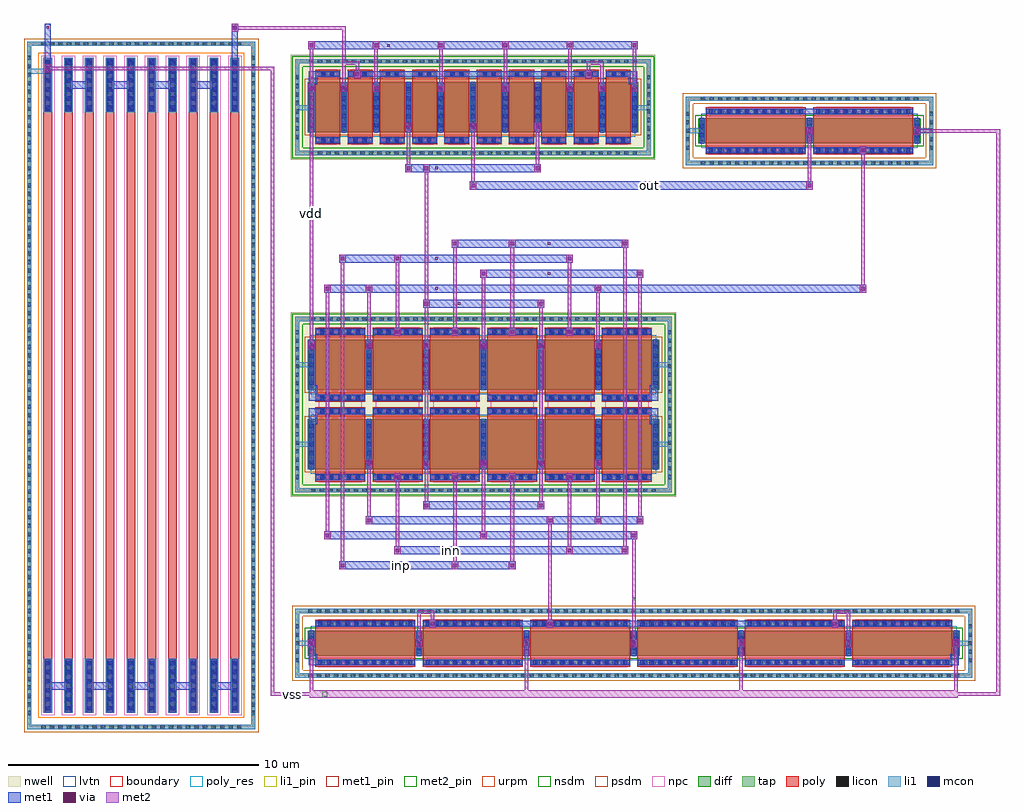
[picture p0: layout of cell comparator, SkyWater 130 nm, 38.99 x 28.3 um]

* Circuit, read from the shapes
.subckt comparator inn inp out vdd vss
XM1 mirror_3/in vss vss vss sky130_fd_pr__nfet_01v8_lvt w=1 l=4 m=2
XM2 vss mirror_3/in mirror_3/in vss sky130_fd_pr__nfet_01v8_lvt w=1 l=4 m=2
XM3 mirror_3/out mirror_3/in vss vss sky130_fd_pr__nfet_01v8_lvt w=1 l=4 m=2
XM4 out mirror_3/out vss vss sky130_fd_pr__nfet_01v8_lvt w=1 l=4 m=2
XM5 mirror_3/in vdd vdd vdd sky130_fd_pr__pfet_01v8_lvt w=2 l=2 m=2
XM6 mirror_3/out vdd vdd vdd sky130_fd_pr__pfet_01v8_lvt w=2 l=2 m=2
XM7 bias_4/vbias vdd vdd vdd sky130_fd_pr__pfet_01v8_lvt w=2 l=1 m=2
XM8 vdd bias_4/vbias bias_4/vbias vdd sky130_fd_pr__pfet_01v8_lvt w=2 l=1 m=2
XM9 bias_4/tail inn mirror_3/in vdd sky130_fd_pr__pfet_01v8_lvt w=2 l=2 m=4
XM10 bias_4/tail inp mirror_3/out vdd sky130_fd_pr__pfet_01v8_lvt w=2 l=2 m=4
XM11 bias_4/tail bias_4/vbias vdd vdd sky130_fd_pr__pfet_01v8_lvt w=2 l=1 m=4
XM12 out bias_4/vbias vdd vdd sky130_fd_pr__pfet_01v8_lvt w=2 l=1 m=2
XR13 vss rbias_1/sky130_fd_pr__res_xhigh_po_0p35_7TSF23_0/R1_8 vss sky130_fd_pr__res_xhigh_po w=0.35 l=21.88
XR14 rbias_1/sky130_fd_pr__res_xhigh_po_0p35_7TSF23_0/R2_7 rbias_1/sky130_fd_pr__res_xhigh_po_0p35_7TSF23_0/R1_8 vss sky130_fd_pr__res_xhigh_po w=0.35 l=21.88
XR15 rbias_1/sky130_fd_pr__res_xhigh_po_0p35_7TSF23_0/R2_7 rbias_1/sky130_fd_pr__res_xhigh_po_0p35_7TSF23_0/R1_6 vss sky130_fd_pr__res_xhigh_po w=0.35 l=21.88
XR16 rbias_1/sky130_fd_pr__res_xhigh_po_0p35_7TSF23_0/R2_5 rbias_1/sky130_fd_pr__res_xhigh_po_0p35_7TSF23_0/R1_6 vss sky130_fd_pr__res_xhigh_po w=0.35 l=21.88
XR17 rbias_1/sky130_fd_pr__res_xhigh_po_0p35_7TSF23_0/R2_5 rbias_1/sky130_fd_pr__res_xhigh_po_0p35_7TSF23_0/R1_4 vss sky130_fd_pr__res_xhigh_po w=0.35 l=21.88
XR18 rbias_1/sky130_fd_pr__res_xhigh_po_0p35_7TSF23_0/R2_3 rbias_1/sky130_fd_pr__res_xhigh_po_0p35_7TSF23_0/R1_4 vss sky130_fd_pr__res_xhigh_po w=0.35 l=21.88
XR19 rbias_1/sky130_fd_pr__res_xhigh_po_0p35_7TSF23_0/R2_3 rbias_1/sky130_fd_pr__res_xhigh_po_0p35_7TSF23_0/R1_2 vss sky130_fd_pr__res_xhigh_po w=0.35 l=21.88
XR20 rbias_1/sky130_fd_pr__res_xhigh_po_0p35_7TSF23_0/R2_1 rbias_1/sky130_fd_pr__res_xhigh_po_0p35_7TSF23_0/R1_2 vss sky130_fd_pr__res_xhigh_po w=0.35 l=21.88
XR21 rbias_1/sky130_fd_pr__res_xhigh_po_0p35_7TSF23_0/R2_1 rbias_1/sky130_fd_pr__res_xhigh_po_0p35_7TSF23_0/R1_0 vss sky130_fd_pr__res_xhigh_po w=0.35 l=21.88
XR22 bias_4/vbias rbias_1/sky130_fd_pr__res_xhigh_po_0p35_7TSF23_0/R1_0 vss sky130_fd_pr__res_xhigh_po w=0.35 l=21.88
.ends

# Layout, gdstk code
from math import pi, radians
import gdstk
lib = gdstk.Library(unit=1e-6, precision=1e-09)
def R(c, l, rs):  # rectangles x0, y0, x1, y1
    for r in rs: c.add(gdstk.rectangle(r[:2], r[2:], *l))
def A(c, l, x, y, w, h, nx, ny, dx, dy):  # array of equal rectangles
    R(c, l, [(x+i*dx, y+j*dy, x+i*dx+w, y+j*dy+h) for i in range(nx) for j in range(ny)])
nwell = (64, 20)
diff = (65, 20)
tap = (65, 44)
poly_res = (66, 13)
poly = (66, 20)
licon = (66, 44)
li1_pin = (67, 16)
li1 = (67, 20)
mcon = (67, 44)
met1_pin = (68, 16)
met1 = (68, 20)
via = (68, 44)
met2_pin = (69, 16)
met2 = (69, 20)
urpm = (79, 20)
nsdm = (93, 44)
psdm = (94, 20)
npc = (95, 20)
lvtn = (125, 44)
boundary = (235, 4)

sky130_fd_pr__nfet_01v8_ = lib.new_cell('sky130_fd_pr__nfet_01v8_lvt_V2W96S')
R(sky130_fd_pr__nfet_01v8_, diff, [(-4.435,-0.5,4.435,0.5)])
R(sky130_fd_pr__nfet_01v8_, tap, [(-4.945,-1.37,4.945,-1.2), (-4.945,-1.2,-4.775,1.2), (4.775,-1.2,4.945,1.2), (-4.945,1.2,4.945,1.37)])
R(sky130_fd_pr__nfet_01v8_, poly, [(-4.145,-0.94,-0.145,0.94), (0.145,-0.94,4.145,0.94)])
A(sky130_fd_pr__nfet_01v8_, licon, -4.335, -1.37, 0.17, 0.17, 26, 2, 0.34, 2.57)
A(sky130_fd_pr__nfet_01v8_, licon, -3.93, -0.86, 0.17, 0.17, 11, 2, 0.34, 1.55)
A(sky130_fd_pr__nfet_01v8_, licon, 0.36, -0.86, 0.17, 0.17, 11, 2, 0.34, 1.55)
A(sky130_fd_pr__nfet_01v8_, licon, -4.945, -0.765, 0.17, 0.17, 1, 5, 0, 0.34)
A(sky130_fd_pr__nfet_01v8_, licon, 4.775, -0.765, 0.17, 0.17, 1, 5, 0, 0.34)
A(sky130_fd_pr__nfet_01v8_, licon, -4.375, -0.425, 0.17, 0.17, 3, 3, 4.29, 0.34)
A(sky130_fd_pr__nfet_01v8_, li1, -4.375, -0.52, 0.17, 1.04, 3, 1, 4.29, 0)
R(sky130_fd_pr__nfet_01v8_, li1, [(-4.945,-1.37,4.945,-1.2), (-4.945,-1.2,-4.775,1.2), (4.775,-1.2,4.945,1.2), (-4.145,-0.86,-0.145,-0.69), (0.145,-0.86,4.145,-0.69), (-4.145,0.69,-0.145,0.86), (0.145,0.69,4.145,0.86), (-4.945,1.2,4.945,1.37)])
A(sky130_fd_pr__nfet_01v8_, mcon, -4.03, -0.86, 0.17, 0.17, 11, 2, 0.36, 1.55)
A(sky130_fd_pr__nfet_01v8_, mcon, 0.26, -0.86, 0.17, 0.17, 11, 2, 0.36, 1.55)
A(sky130_fd_pr__nfet_01v8_, mcon, -4.375, -0.265, 0.17, 0.17, 3, 2, 4.29, 0.36)
A(sky130_fd_pr__nfet_01v8_, met1, -4.405, -0.5, 0.23, 1, 3, 1, 4.29, 0)
R(sky130_fd_pr__nfet_01v8_, met1, [(-4.125,-0.89,-0.165,-0.66), (0.165,-0.89,4.125,-0.66), (-4.125,0.66,-0.165,0.89), (0.165,0.66,4.125,0.89)])
R(sky130_fd_pr__nfet_01v8_, nsdm, [(-4.56,-0.625,4.56,0.625)])
R(sky130_fd_pr__nfet_01v8_, psdm, [(-5.07,-1.495,5.07,-1.075), (-5.07,-1.075,-4.65,1.075), (4.65,-1.075,5.07,1.075), (-5.07,1.075,5.07,1.495)])
R(sky130_fd_pr__nfet_01v8_, npc, [(-4.03,-0.96,-0.26,-0.59), (0.26,-0.96,4.03,-0.59), (-4.03,0.59,-0.26,0.96), (0.26,0.59,4.03,0.96)])
R(sky130_fd_pr__nfet_01v8_, lvtn, [(-4.325,-0.68,4.325,0.68)])
R(sky130_fd_pr__nfet_01v8_, boundary, [(-4.86,-1.285,4.86,1.285)])
sky130_fd_pr__nfet_01v8_.add(gdstk.Label('B', (0,-1.285), layer=67, texttype=5))
sky130_fd_pr__nfet_01v8_.add(gdstk.Label('D0', (-4.29,0), layer=67, texttype=5))
sky130_fd_pr__nfet_01v8_.add(gdstk.Label('G0', (-2.145,0.775), layer=67, texttype=5))
sky130_fd_pr__nfet_01v8_.add(gdstk.Label('S1', (0,0), layer=67, texttype=5))
sky130_fd_pr__nfet_01v8_.add(gdstk.Label('G1', (2.145,0.775), layer=67, texttype=5))

stage2 = lib.new_cell('stage2')
R(stage2, li1_pin, [(0.2,1.25,0.3,1.35)])
R(stage2, li1, [(-0.085,1.185,0.6,1.385), (9.12,1.185,9.805,1.385)])
R(stage2, met1_pin, [(2,2,2.1,2.1)])
R(stage2, met1, [(4.73,1.125,4.99,1.445), (0.735,1.945,8.985,2.175)])
R(stage2, via, [(4.785,1.21,4.935,1.36)])
R(stage2, met2_pin, [(4.82,-0.85,4.9,-0.75)])
R(stage2, met2, [(4.79,-0.9,4.93,1.125), (4.73,1.125,4.99,1.445)])
stage2.add(gdstk.Reference(sky130_fd_pr__nfet_01v8_, (4.86,1.285)))
stage2.add(gdstk.Label('vss', (0.25,1.3), layer=67, texttype=5))
stage2.add(gdstk.Label('out1', (2.05,2.05), layer=68, texttype=5))
stage2.add(gdstk.Label('out', (4.86,-0.8), layer=69, texttype=5))

sky130_fd_pr__res_xhigh_ = lib.new_cell('sky130_fd_pr__res_xhigh_po_0p35_7TSF23')
R(sky130_fd_pr__res_xhigh_, tap, [(-4.56,-13.73,4.56,-13.56), (-4.56,-13.56,-4.39,13.56), (4.39,-13.56,4.56,13.56), (-4.56,13.56,4.56,13.73)])
A(sky130_fd_pr__res_xhigh_, poly_res, -3.91, -11, 0.35, 22, 10, 1, 0.83, 0)
A(sky130_fd_pr__res_xhigh_, poly, -3.91, -13.08, 0.35, 26.16, 10, 1, 0.83, 0)
A(sky130_fd_pr__res_xhigh_, licon, -3.995, -13.73, 0.17, 0.17, 24, 2, 0.34, 27.29)
A(sky130_fd_pr__res_xhigh_, licon, -4.56, -13.175, 0.17, 0.17, 1, 78, 0, 0.34)
A(sky130_fd_pr__res_xhigh_, licon, 4.39, -13.175, 0.17, 0.17, 1, 78, 0, 0.34)
A(sky130_fd_pr__res_xhigh_, licon, -3.83, -13, 0.19, 2, 10, 2, 0.83, 24)
A(sky130_fd_pr__res_xhigh_, li1, -3.91, -13.08, 0.35, 2.16, 10, 2, 0.83, 24)
R(sky130_fd_pr__res_xhigh_, li1, [(-4.56,-13.73,4.56,-13.56), (-4.56,-13.56,-4.39,13.56), (4.39,-13.56,4.56,13.56), (-4.56,13.56,4.56,13.73)])
A(sky130_fd_pr__res_xhigh_, mcon, -3.82, -12.985, 0.17, 0.17, 10, 6, 0.83, 0.36)
A(sky130_fd_pr__res_xhigh_, mcon, -3.82, 11.01, 0.17, 0.17, 10, 6, 0.83, 0.36)
A(sky130_fd_pr__res_xhigh_, met1, -3.86, -13.05, 0.25, 2.105, 10, 2, 0.83, 23.995)
R(sky130_fd_pr__res_xhigh_, urpm, [(-4.11,-13.28,4.11,13.28)])
R(sky130_fd_pr__res_xhigh_, psdm, [(-4.685,-13.855,4.685,13.855)])
A(sky130_fd_pr__res_xhigh_, npc, -4.005, -13.175, 0.54, 26.35, 10, 1, 0.83, 0)
R(sky130_fd_pr__res_xhigh_, boundary, [(-4.475,-13.645,4.475,13.645)])
sky130_fd_pr__res_xhigh_.add(gdstk.Label('B', (0,-13.645), layer=67, texttype=5))
sky130_fd_pr__res_xhigh_.add(gdstk.Label('R1_0', (-3.735,12.905), layer=67, texttype=5))
sky130_fd_pr__res_xhigh_.add(gdstk.Label('R2_0', (-3.735,-12.905), layer=67, texttype=5))
sky130_fd_pr__res_xhigh_.add(gdstk.Label('R1_1', (-2.905,12.905), layer=67, texttype=5))
sky130_fd_pr__res_xhigh_.add(gdstk.Label('R2_1', (-2.905,-12.905), layer=67, texttype=5))
sky130_fd_pr__res_xhigh_.add(gdstk.Label('R1_2', (-2.075,12.905), layer=67, texttype=5))
sky130_fd_pr__res_xhigh_.add(gdstk.Label('R2_2', (-2.075,-12.905), layer=67, texttype=5))
sky130_fd_pr__res_xhigh_.add(gdstk.Label('R1_3', (-1.245,12.905), layer=67, texttype=5))
sky130_fd_pr__res_xhigh_.add(gdstk.Label('R2_3', (-1.245,-12.905), layer=67, texttype=5))
sky130_fd_pr__res_xhigh_.add(gdstk.Label('R1_4', (-0.415,12.905), layer=67, texttype=5))
sky130_fd_pr__res_xhigh_.add(gdstk.Label('R2_4', (-0.415,-12.905), layer=67, texttype=5))
sky130_fd_pr__res_xhigh_.add(gdstk.Label('R1_5', (0.415,12.905), layer=67, texttype=5))
sky130_fd_pr__res_xhigh_.add(gdstk.Label('R2_5', (0.415,-12.905), layer=67, texttype=5))
sky130_fd_pr__res_xhigh_.add(gdstk.Label('R1_6', (1.245,12.905), layer=67, texttype=5))
sky130_fd_pr__res_xhigh_.add(gdstk.Label('R2_6', (1.245,-12.905), layer=67, texttype=5))
sky130_fd_pr__res_xhigh_.add(gdstk.Label('R1_7', (2.075,12.905), layer=67, texttype=5))
sky130_fd_pr__res_xhigh_.add(gdstk.Label('R2_7', (2.075,-12.905), layer=67, texttype=5))
sky130_fd_pr__res_xhigh_.add(gdstk.Label('R1_8', (2.905,12.905), layer=67, texttype=5))
sky130_fd_pr__res_xhigh_.add(gdstk.Label('R2_8', (2.905,-12.905), layer=67, texttype=5))
sky130_fd_pr__res_xhigh_.add(gdstk.Label('R1_9', (3.735,12.905), layer=67, texttype=5))
sky130_fd_pr__res_xhigh_.add(gdstk.Label('R2_9', (3.735,-12.905), layer=67, texttype=5))

rbias = lib.new_cell('rbias')
R(rbias, li1, [(8.26,1,9.035,1.2)])
R(rbias, met1_pin, [(0.7,-0.7,0.78,-0.6), (8.17,-0.7,8.25,-0.6)])
A(rbias, met1, 1.445, 1.5, 1.08, 0.3, 4, 1, 1.66, 0)
A(rbias, met1, 0.615, 25.5, 1.08, 0.3, 5, 1, 1.66, 0)
R(rbias, met1, [(0.615,-0.8,0.865,1.3), (8.085,-0.8,8.335,1.3)])
rbias.add(gdstk.Reference(sky130_fd_pr__res_xhigh_, (4.475,13.645)))
rbias.add(gdstk.Label('vbias', (0.74,-0.65), layer=68, texttype=5))
rbias.add(gdstk.Label('vss', (8.21,-0.65), layer=68, texttype=5))

sky130_fd_pr__pfet_01v8_ = lib.new_cell('sky130_fd_pr__pfet_01v8_lvt_XXW46M')
R(sky130_fd_pr__pfet_01v8_, nwell, [(-7.705,-3.685,7.705,3.685)])
R(sky130_fd_pr__pfet_01v8_, diff, [(-7.015,-2.59,7.015,-0.59), (-7.015,0.59,7.015,2.59)])
R(sky130_fd_pr__pfet_01v8_, tap, [(-7.525,-3.505,7.525,-3.335), (-7.525,-3.335,-7.355,3.335), (7.355,-3.335,7.525,3.335), (-7.525,3.335,7.525,3.505)])
A(sky130_fd_pr__pfet_01v8_, poly, -6.725, -3.075, 2, 2.97, 6, 2, 2.29, 3.18)
A(sky130_fd_pr__pfet_01v8_, licon, -6.885, -3.505, 0.17, 0.17, 41, 2, 0.34, 6.84)
A(sky130_fd_pr__pfet_01v8_, licon, -6.49, -2.995, 0.17, 0.17, 5, 2, 0.34, 2.64)
A(sky130_fd_pr__pfet_01v8_, licon, -4.2, -2.995, 0.17, 0.17, 5, 2, 0.34, 2.64)
A(sky130_fd_pr__pfet_01v8_, licon, -1.91, -2.995, 0.17, 0.17, 5, 2, 0.34, 2.64)
A(sky130_fd_pr__pfet_01v8_, licon, 0.38, -2.995, 0.17, 0.17, 5, 2, 0.34, 2.64)
A(sky130_fd_pr__pfet_01v8_, licon, 2.67, -2.995, 0.17, 0.17, 5, 2, 0.34, 2.64)
A(sky130_fd_pr__pfet_01v8_, licon, 4.96, -2.995, 0.17, 0.17, 5, 2, 0.34, 2.64)
A(sky130_fd_pr__pfet_01v8_, licon, -7.525, -2.975, 0.17, 0.17, 1, 18, 0, 0.34)
A(sky130_fd_pr__pfet_01v8_, licon, 7.355, -2.975, 0.17, 0.17, 1, 18, 0, 0.34)
A(sky130_fd_pr__pfet_01v8_, licon, -6.955, -2.525, 0.17, 0.17, 7, 6, 2.29, 0.34)
A(sky130_fd_pr__pfet_01v8_, licon, -6.49, 0.185, 0.17, 0.17, 5, 2, 0.34, 2.64)
A(sky130_fd_pr__pfet_01v8_, licon, -4.2, 0.185, 0.17, 0.17, 5, 2, 0.34, 2.64)
A(sky130_fd_pr__pfet_01v8_, licon, -1.91, 0.185, 0.17, 0.17, 5, 2, 0.34, 2.64)
A(sky130_fd_pr__pfet_01v8_, licon, 0.38, 0.185, 0.17, 0.17, 5, 2, 0.34, 2.64)
A(sky130_fd_pr__pfet_01v8_, licon, 2.67, 0.185, 0.17, 0.17, 5, 2, 0.34, 2.64)
A(sky130_fd_pr__pfet_01v8_, licon, 4.96, 0.185, 0.17, 0.17, 5, 2, 0.34, 2.64)
A(sky130_fd_pr__pfet_01v8_, licon, -6.955, 0.655, 0.17, 0.17, 7, 6, 2.29, 0.34)
A(sky130_fd_pr__pfet_01v8_, li1, -6.725, -2.995, 2, 0.17, 6, 2, 2.29, 2.64)
A(sky130_fd_pr__pfet_01v8_, li1, -6.955, -2.61, 0.17, 2.04, 7, 2, 2.29, 3.18)
A(sky130_fd_pr__pfet_01v8_, li1, -6.725, 0.185, 2, 0.17, 6, 2, 2.29, 2.64)
R(sky130_fd_pr__pfet_01v8_, li1, [(-7.525,-3.505,7.525,-3.335), (-7.525,-3.335,-7.355,3.335), (7.355,-3.335,7.525,3.335), (-7.525,3.335,7.525,3.505)])
A(sky130_fd_pr__pfet_01v8_, mcon, -6.53, -2.995, 0.17, 0.17, 5, 2, 0.36, 2.64)
A(sky130_fd_pr__pfet_01v8_, mcon, -4.24, -2.995, 0.17, 0.17, 5, 2, 0.36, 2.64)
A(sky130_fd_pr__pfet_01v8_, mcon, -1.95, -2.995, 0.17, 0.17, 5, 2, 0.36, 2.64)
A(sky130_fd_pr__pfet_01v8_, mcon, 0.34, -2.995, 0.17, 0.17, 5, 2, 0.36, 2.64)
A(sky130_fd_pr__pfet_01v8_, mcon, 2.63, -2.995, 0.17, 0.17, 5, 2, 0.36, 2.64)
A(sky130_fd_pr__pfet_01v8_, mcon, 4.92, -2.995, 0.17, 0.17, 5, 2, 0.36, 2.64)
A(sky130_fd_pr__pfet_01v8_, mcon, -6.955, -2.395, 0.17, 0.17, 7, 5, 2.29, 0.36)
A(sky130_fd_pr__pfet_01v8_, mcon, -6.53, 0.185, 0.17, 0.17, 5, 2, 0.36, 2.64)
A(sky130_fd_pr__pfet_01v8_, mcon, -4.24, 0.185, 0.17, 0.17, 5, 2, 0.36, 2.64)
A(sky130_fd_pr__pfet_01v8_, mcon, -1.95, 0.185, 0.17, 0.17, 5, 2, 0.36, 2.64)
A(sky130_fd_pr__pfet_01v8_, mcon, 0.34, 0.185, 0.17, 0.17, 5, 2, 0.36, 2.64)
A(sky130_fd_pr__pfet_01v8_, mcon, 2.63, 0.185, 0.17, 0.17, 5, 2, 0.36, 2.64)
A(sky130_fd_pr__pfet_01v8_, mcon, 4.92, 0.185, 0.17, 0.17, 5, 2, 0.36, 2.64)
A(sky130_fd_pr__pfet_01v8_, mcon, -6.955, 0.785, 0.17, 0.17, 7, 5, 2.29, 0.36)
A(sky130_fd_pr__pfet_01v8_, met1, -6.705, -3.025, 1.96, 0.23, 6, 2, 2.29, 2.64)
A(sky130_fd_pr__pfet_01v8_, met1, -6.985, -2.59, 0.23, 2, 7, 2, 2.29, 3.18)
A(sky130_fd_pr__pfet_01v8_, met1, -6.705, 0.155, 1.96, 0.23, 6, 2, 2.29, 2.64)
R(sky130_fd_pr__pfet_01v8_, nsdm, [(-7.65,-3.63,7.65,-3.21), (-7.65,-3.21,-7.23,3.21), (7.23,-3.21,7.65,3.21), (-7.65,3.21,7.65,3.63)])
R(sky130_fd_pr__pfet_01v8_, psdm, [(-7.14,-2.715,7.14,-0.465), (-7.14,0.465,7.14,2.715)])
A(sky130_fd_pr__pfet_01v8_, npc, -6.59, -3.095, 1.73, 0.37, 6, 2, 2.29, 5.82)
A(sky130_fd_pr__pfet_01v8_, npc, -6.59, -0.455, 1.73, 0.91, 6, 1, 2.29, 0)
R(sky130_fd_pr__pfet_01v8_, lvtn, [(-6.905,-2.77,6.905,-0.41), (-6.905,0.41,6.905,2.77)])
R(sky130_fd_pr__pfet_01v8_, boundary, [(-7.44,-3.42,7.44,3.42)])
sky130_fd_pr__pfet_01v8_.add(gdstk.Label('B', (0,-3.42), layer=67, texttype=5))
sky130_fd_pr__pfet_01v8_.add(gdstk.Label('D0_0', (-6.87,-1.59), layer=67, texttype=5))
sky130_fd_pr__pfet_01v8_.add(gdstk.Label('G0_0', (-5.725,-0.27), layer=67, texttype=5))
sky130_fd_pr__pfet_01v8_.add(gdstk.Label('D0_1', (-6.87,1.59), layer=67, texttype=5))
sky130_fd_pr__pfet_01v8_.add(gdstk.Label('G0_1', (-5.725,2.91), layer=67, texttype=5))
sky130_fd_pr__pfet_01v8_.add(gdstk.Label('S1_0', (-4.58,-1.59), layer=67, texttype=5))
sky130_fd_pr__pfet_01v8_.add(gdstk.Label('G1_0', (-3.435,-0.27), layer=67, texttype=5))
sky130_fd_pr__pfet_01v8_.add(gdstk.Label('S1_1', (-4.58,1.59), layer=67, texttype=5))
sky130_fd_pr__pfet_01v8_.add(gdstk.Label('G1_1', (-3.435,2.91), layer=67, texttype=5))
sky130_fd_pr__pfet_01v8_.add(gdstk.Label('D2_0', (-2.29,-1.59), layer=67, texttype=5))
sky130_fd_pr__pfet_01v8_.add(gdstk.Label('G2_0', (-1.145,-0.27), layer=67, texttype=5))
sky130_fd_pr__pfet_01v8_.add(gdstk.Label('D2_1', (-2.29,1.59), layer=67, texttype=5))
sky130_fd_pr__pfet_01v8_.add(gdstk.Label('G2_1', (-1.145,2.91), layer=67, texttype=5))
sky130_fd_pr__pfet_01v8_.add(gdstk.Label('S3_0', (0,-1.59), layer=67, texttype=5))
sky130_fd_pr__pfet_01v8_.add(gdstk.Label('G3_0', (1.145,-0.27), layer=67, texttype=5))
sky130_fd_pr__pfet_01v8_.add(gdstk.Label('S3_1', (0,1.59), layer=67, texttype=5))
sky130_fd_pr__pfet_01v8_.add(gdstk.Label('G3_1', (1.145,2.91), layer=67, texttype=5))
sky130_fd_pr__pfet_01v8_.add(gdstk.Label('D4_0', (2.29,-1.59), layer=67, texttype=5))
sky130_fd_pr__pfet_01v8_.add(gdstk.Label('G4_0', (3.435,-0.27), layer=67, texttype=5))
sky130_fd_pr__pfet_01v8_.add(gdstk.Label('D4_1', (2.29,1.59), layer=67, texttype=5))
sky130_fd_pr__pfet_01v8_.add(gdstk.Label('G4_1', (3.435,2.91), layer=67, texttype=5))
sky130_fd_pr__pfet_01v8_.add(gdstk.Label('S5_0', (4.58,-1.59), layer=67, texttype=5))
sky130_fd_pr__pfet_01v8_.add(gdstk.Label('G5_0', (5.725,-0.27), layer=67, texttype=5))
sky130_fd_pr__pfet_01v8_.add(gdstk.Label('S5_1', (4.58,1.59), layer=67, texttype=5))
sky130_fd_pr__pfet_01v8_.add(gdstk.Label('G5_1', (5.725,2.91), layer=67, texttype=5))

pair = lib.new_cell('pair')
R(pair, li1_pin, [(0.2,4.95,0.3,5.05)])
R(pair, li1, [(-0.085,1.74,0.6,1.94), (14.28,1.74,14.965,1.94), (-0.085,4.9,0.6,5.1), (14.28,4.9,14.965,5.1)])
R(pair, met1_pin, [(6.4,7.4,6.5,7.5), (5.5,8,5.6,8.1), (10,8.6,10.1,8.7), (5.5,9.2,5.6,9.3), (10,9.8,10.1,9.9)])
A(pair, met1, 3.875, 0.35, 0.26, 0.32, 4, 2, 2.29, 5.82)
A(pair, met1, 2.73, 0.89, 0.26, 0.32, 5, 2, 2.29, 4.74)
R(pair, met1, [(1.67,-3.17,8.715,-2.85), (3.875,-2.57,13.21,-2.25), (1.07,-1.97,7.57,-1.65), (2.73,-1.37,13.81,-1.05), (5.02,-0.77,9.86,-0.45), (0.455,2.64,0.8,3.265), (14.08,2.64,14.425,3.265), (0.455,3.575,0.8,4.2), (14.08,3.575,14.425,4.2), (5.02,7.29,9.86,7.61), (1.07,7.89,12.15,8.21), (7.31,8.49,13.81,8.81), (1.67,9.09,11.005,9.41), (6.165,9.69,13.21,10.01)])
A(pair, via, 3.93, 0.435, 0.15, 0.15, 4, 2, 2.29, 5.82)
A(pair, via, 2.785, 0.975, 0.15, 0.15, 5, 2, 2.29, 4.74)
R(pair, via, [(1.725,-3.085,1.875,-2.935), (6.22,-3.085,6.37,-2.935), (8.51,-3.085,8.66,-2.935), (3.93,-2.485,4.08,-2.335), (10.8,-2.485,10.95,-2.335), (13.005,-2.485,13.155,-2.335), (1.125,-1.885,1.275,-1.735), (7.365,-1.885,7.515,-1.735), (2.785,-1.285,2.935,-1.135), (11.945,-1.285,12.095,-1.135), (13.605,-1.285,13.755,-1.135), (5.075,-0.685,5.225,-0.535), (9.655,-0.685,9.805,-0.535), (5.075,7.375,5.225,7.525), (9.655,7.375,9.805,7.525), (1.125,7.975,1.275,8.125), (2.785,7.975,2.935,8.125), (11.945,7.975,12.095,8.125), (7.365,8.575,7.515,8.725), (13.605,8.575,13.755,8.725), (1.725,9.175,1.875,9.325), (3.93,9.175,4.08,9.325), (10.8,9.175,10.95,9.325), (6.22,9.775,6.37,9.925), (8.51,9.775,8.66,9.925), (13.005,9.775,13.155,9.925)])
A(pair, met2, 3.875, 0.35, 0.26, 0.32, 4, 2, 2.29, 5.82)
A(pair, met2, 2.73, 0.89, 0.26, 0.32, 5, 2, 2.29, 4.74)
R(pair, met2, [(1.67,-3.17,1.93,-2.85), (6.165,-3.17,6.425,-2.85), (8.455,-3.17,8.715,-2.85), (1.73,-2.85,1.87,9.09), (6.225,-2.85,6.365,0.35), (8.515,-2.85,8.655,0.35), (3.875,-2.57,4.135,-2.25), (10.745,-2.57,11.005,-2.25), (12.95,-2.57,13.21,-2.25), (3.935,-2.25,4.075,0.35), (10.805,-2.25,10.945,0.35), (13.01,-2.25,13.15,9.69), (1.07,-1.97,1.33,-1.65), (7.31,-1.97,7.57,-1.65), (1.13,-1.65,1.27,7.89), (7.37,-1.65,7.51,0.89), (2.73,-1.37,2.99,-1.05), (11.89,-1.37,12.15,-1.05), (13.55,-1.37,13.81,-1.05), (2.79,-1.05,2.93,0.89), (11.95,-1.05,12.09,0.89), (13.61,-1.05,13.75,8.49), (5.02,-0.77,5.28,-0.45), (9.6,-0.77,9.86,-0.45), (5.08,-0.45,5.22,0.89), (9.66,-0.45,9.8,0.89), (5.08,1.21,5.22,5.63), (9.66,1.21,9.8,5.63), (2.79,5.95,2.93,7.89), (5.08,5.95,5.22,7.29), (7.37,5.95,7.51,8.49), (9.66,5.95,9.8,7.29), (11.95,5.95,12.09,7.89), (3.935,6.49,4.075,9.09), (6.225,6.49,6.365,9.69), (8.515,6.49,8.655,9.69), (10.805,6.49,10.945,9.09), (5.02,7.29,5.28,7.61), (9.6,7.29,9.86,7.61), (1.07,7.89,1.33,8.21), (2.73,7.89,2.99,8.21), (11.89,7.89,12.15,8.21), (7.31,8.49,7.57,8.81), (13.55,8.49,13.81,8.81), (1.67,9.09,1.93,9.41), (3.875,9.09,4.135,9.41), (10.745,9.09,11.005,9.41), (6.165,9.69,6.425,10.01), (8.455,9.69,8.715,10.01), (12.95,9.69,13.21,10.01)])
pair.add(gdstk.Reference(sky130_fd_pr__pfet_01v8_, (7.44,3.42)))
pair.add(gdstk.Label('vdd', (0.25,5), layer=67, texttype=5))
pair.add(gdstk.Label('tail', (6.45,7.45), layer=68, texttype=5))
pair.add(gdstk.Label('out1', (5.55,8.05), layer=68, texttype=5))
pair.add(gdstk.Label('xm2_drain', (10.05,8.65), layer=68, texttype=5))
pair.add(gdstk.Label('inp', (5.55,9.25), layer=68, texttype=5))
pair.add(gdstk.Label('inn', (10.05,9.85), layer=68, texttype=5))

c_sky130_fd_pr__nfet_01v8_ = lib.new_cell('sky130_fd_pr__nfet_01v8_lvt_J7S5NG')
R(c_sky130_fd_pr__nfet_01v8_, diff, [(-13.015,-0.5,13.015,0.5)])
R(c_sky130_fd_pr__nfet_01v8_, tap, [(-13.525,-1.37,13.525,-1.2), (-13.525,-1.2,-13.355,1.2), (13.355,-1.2,13.525,1.2), (-13.525,1.2,13.525,1.37)])
A(c_sky130_fd_pr__nfet_01v8_, poly, -12.725, -0.94, 4, 1.88, 6, 1, 4.29, 0)
A(c_sky130_fd_pr__nfet_01v8_, licon, -13.005, -1.37, 0.17, 0.17, 77, 2, 0.34, 2.57)
A(c_sky130_fd_pr__nfet_01v8_, licon, -12.51, -0.86, 0.17, 0.17, 11, 2, 0.34, 1.55)
A(c_sky130_fd_pr__nfet_01v8_, licon, -8.22, -0.86, 0.17, 0.17, 11, 2, 0.34, 1.55)
A(c_sky130_fd_pr__nfet_01v8_, licon, -3.93, -0.86, 0.17, 0.17, 11, 2, 0.34, 1.55)
A(c_sky130_fd_pr__nfet_01v8_, licon, 0.36, -0.86, 0.17, 0.17, 11, 2, 0.34, 1.55)
A(c_sky130_fd_pr__nfet_01v8_, licon, 4.65, -0.86, 0.17, 0.17, 11, 2, 0.34, 1.55)
A(c_sky130_fd_pr__nfet_01v8_, licon, 8.94, -0.86, 0.17, 0.17, 11, 2, 0.34, 1.55)
A(c_sky130_fd_pr__nfet_01v8_, licon, -13.525, -0.765, 0.17, 0.17, 1, 5, 0, 0.34)
A(c_sky130_fd_pr__nfet_01v8_, licon, 13.355, -0.765, 0.17, 0.17, 1, 5, 0, 0.34)
A(c_sky130_fd_pr__nfet_01v8_, licon, -12.955, -0.425, 0.17, 0.17, 7, 3, 4.29, 0.34)
A(c_sky130_fd_pr__nfet_01v8_, li1, -12.725, -0.86, 4, 0.17, 6, 2, 4.29, 1.55)
A(c_sky130_fd_pr__nfet_01v8_, li1, -12.955, -0.52, 0.17, 1.04, 7, 1, 4.29, 0)
R(c_sky130_fd_pr__nfet_01v8_, li1, [(-13.525,-1.37,13.525,-1.2), (-13.525,-1.2,-13.355,1.2), (13.355,-1.2,13.525,1.2), (-13.525,1.2,13.525,1.37)])
A(c_sky130_fd_pr__nfet_01v8_, mcon, -12.61, -0.86, 0.17, 0.17, 11, 2, 0.36, 1.55)
A(c_sky130_fd_pr__nfet_01v8_, mcon, -8.32, -0.86, 0.17, 0.17, 11, 2, 0.36, 1.55)
A(c_sky130_fd_pr__nfet_01v8_, mcon, -4.03, -0.86, 0.17, 0.17, 11, 2, 0.36, 1.55)
A(c_sky130_fd_pr__nfet_01v8_, mcon, 0.26, -0.86, 0.17, 0.17, 11, 2, 0.36, 1.55)
A(c_sky130_fd_pr__nfet_01v8_, mcon, 4.55, -0.86, 0.17, 0.17, 11, 2, 0.36, 1.55)
A(c_sky130_fd_pr__nfet_01v8_, mcon, 8.84, -0.86, 0.17, 0.17, 11, 2, 0.36, 1.55)
A(c_sky130_fd_pr__nfet_01v8_, mcon, -12.955, -0.265, 0.17, 0.17, 7, 2, 4.29, 0.36)
A(c_sky130_fd_pr__nfet_01v8_, met1, -12.705, -0.89, 3.96, 0.23, 6, 2, 4.29, 1.55)
A(c_sky130_fd_pr__nfet_01v8_, met1, -12.985, -0.5, 0.23, 1, 7, 1, 4.29, 0)
R(c_sky130_fd_pr__nfet_01v8_, nsdm, [(-13.14,-0.625,13.14,0.625)])
R(c_sky130_fd_pr__nfet_01v8_, psdm, [(-13.65,-1.495,13.65,-1.075), (-13.65,-1.075,-13.23,1.075), (13.23,-1.075,13.65,1.075), (-13.65,1.075,13.65,1.495)])
A(c_sky130_fd_pr__nfet_01v8_, npc, -12.61, -0.96, 3.77, 0.37, 6, 2, 4.29, 1.55)
R(c_sky130_fd_pr__nfet_01v8_, lvtn, [(-12.905,-0.68,12.905,0.68)])
R(c_sky130_fd_pr__nfet_01v8_, boundary, [(-13.44,-1.285,13.44,1.285)])
c_sky130_fd_pr__nfet_01v8_.add(gdstk.Label('B', (0,-1.285), layer=67, texttype=5))
c_sky130_fd_pr__nfet_01v8_.add(gdstk.Label('D0', (-12.87,0), layer=67, texttype=5))
c_sky130_fd_pr__nfet_01v8_.add(gdstk.Label('G0', (-10.725,0.775), layer=67, texttype=5))
c_sky130_fd_pr__nfet_01v8_.add(gdstk.Label('S1', (-8.58,0), layer=67, texttype=5))
c_sky130_fd_pr__nfet_01v8_.add(gdstk.Label('G1', (-6.435,0.775), layer=67, texttype=5))
c_sky130_fd_pr__nfet_01v8_.add(gdstk.Label('D2', (-4.29,0), layer=67, texttype=5))
c_sky130_fd_pr__nfet_01v8_.add(gdstk.Label('G2', (-2.145,0.775), layer=67, texttype=5))
c_sky130_fd_pr__nfet_01v8_.add(gdstk.Label('S3', (0,0), layer=67, texttype=5))
c_sky130_fd_pr__nfet_01v8_.add(gdstk.Label('G3', (2.145,0.775), layer=67, texttype=5))
c_sky130_fd_pr__nfet_01v8_.add(gdstk.Label('D4', (4.29,0), layer=67, texttype=5))
c_sky130_fd_pr__nfet_01v8_.add(gdstk.Label('G4', (6.435,0.775), layer=67, texttype=5))
c_sky130_fd_pr__nfet_01v8_.add(gdstk.Label('S5', (8.58,0), layer=67, texttype=5))
c_sky130_fd_pr__nfet_01v8_.add(gdstk.Label('G5', (10.725,0.775), layer=67, texttype=5))

mirror = lib.new_cell('mirror')
R(mirror, li1, [(-0.085,1.185,0.6,1.385), (26.28,1.185,26.965,1.385)])
R(mirror, met1_pin, [(12,2,12.1,2.1)])
A(mirror, met1, 0.44, 1.125, 0.26, 0.32, 7, 1, 4.29, 0)
R(mirror, met1, [(0.455,0.395,0.8,0.85), (26.08,0.395,26.425,0.85), (5.27,1.9,5.53,1.945), (21.35,1.9,21.61,1.945), (5.025,1.945,21.855,2.175), (5.27,2.175,5.53,2.22), (21.35,2.175,21.61,2.22)])
A(mirror, via, 0.495, 1.21, 0.15, 0.15, 7, 1, 4.29, 0)
R(mirror, via, [(5.325,1.985,5.475,2.135), (21.405,1.985,21.555,2.135)])
R(mirror, met2_pin, [(1,-0.85,1.2,-0.65), (13.4,3,13.48,3.1)])
A(mirror, met2, 0.5, -0.6, 0.14, 1.725, 4, 1, 8.58, 0)
A(mirror, met2, 0.44, 1.125, 0.26, 0.32, 7, 1, 4.29, 0)
R(mirror, met2, [(0.5,-0.9,26.38,-0.6), (4.79,1.445,4.93,2.46), (13.37,1.445,13.51,3.2), (21.95,1.445,22.09,2.46), (5.27,1.9,5.53,2.22), (21.35,1.9,21.61,2.22), (5.33,2.22,5.47,2.46), (21.41,2.22,21.55,2.46), (4.79,2.46,5.47,2.6), (21.41,2.46,22.09,2.6)])
mirror.add(gdstk.Reference(c_sky130_fd_pr__nfet_01v8_, (13.44,1.285)))
mirror.add(gdstk.Label('vss', (1.1,-0.75), layer=69, texttype=5))
mirror.add(gdstk.Label('out', (13.44,3.05), layer=69, texttype=5))
mirror.add(gdstk.Label('in', (12.05,2.05), layer=68, texttype=5))

c_sky130_fd_pr__pfet_01v8_ = lib.new_cell('sky130_fd_pr__pfet_01v8_lvt_XWUKYC')
R(c_sky130_fd_pr__pfet_01v8_, nwell, [(-7.285,-2.095,7.285,2.095)])
R(c_sky130_fd_pr__pfet_01v8_, diff, [(-6.595,-1,6.595,1)])
R(c_sky130_fd_pr__pfet_01v8_, tap, [(-7.105,-1.915,7.105,-1.745), (-7.105,-1.745,-6.935,1.745), (6.935,-1.745,7.105,1.745), (-7.105,1.745,7.105,1.915)])
A(c_sky130_fd_pr__pfet_01v8_, poly, -6.305, -1.485, 1, 2.97, 10, 1, 1.29, 0)
A(c_sky130_fd_pr__pfet_01v8_, licon, -6.545, -1.915, 0.17, 0.17, 39, 2, 0.34, 3.66)
A(c_sky130_fd_pr__pfet_01v8_, licon, -7.105, -1.275, 0.17, 0.17, 1, 8, 0, 0.34)
A(c_sky130_fd_pr__pfet_01v8_, licon, 6.935, -1.275, 0.17, 0.17, 1, 8, 0, 0.34)
A(c_sky130_fd_pr__pfet_01v8_, licon, -6.535, -0.935, 0.17, 0.17, 11, 6, 1.29, 0.34)
R(c_sky130_fd_pr__pfet_01v8_, licon, [(-6.06,-1.405,-5.89,-1.235), (-5.72,-1.405,-5.55,-1.235), (-4.77,-1.405,-4.6,-1.235), (-4.43,-1.405,-4.26,-1.235), (-3.48,-1.405,-3.31,-1.235), (-3.14,-1.405,-2.97,-1.235), (-2.19,-1.405,-2.02,-1.235), (-1.85,-1.405,-1.68,-1.235), (-0.9,-1.405,-0.73,-1.235), (-0.56,-1.405,-0.39,-1.235), (0.39,-1.405,0.56,-1.235), (0.73,-1.405,0.9,-1.235), (1.68,-1.405,1.85,-1.235), (2.02,-1.405,2.19,-1.235), (2.97,-1.405,3.14,-1.235), (3.31,-1.405,3.48,-1.235), (4.26,-1.405,4.43,-1.235), (4.6,-1.405,4.77,-1.235), (5.55,-1.405,5.72,-1.235), (5.89,-1.405,6.06,-1.235), (-6.06,1.235,-5.89,1.405), (-5.72,1.235,-5.55,1.405), (-4.77,1.235,-4.6,1.405), (-4.43,1.235,-4.26,1.405), (-3.48,1.235,-3.31,1.405), (-3.14,1.235,-2.97,1.405), (-2.19,1.235,-2.02,1.405), (-1.85,1.235,-1.68,1.405), (-0.9,1.235,-0.73,1.405), (-0.56,1.235,-0.39,1.405), (0.39,1.235,0.56,1.405), (0.73,1.235,0.9,1.405), (1.68,1.235,1.85,1.405), (2.02,1.235,2.19,1.405), (2.97,1.235,3.14,1.405), (3.31,1.235,3.48,1.405), (4.26,1.235,4.43,1.405), (4.6,1.235,4.77,1.405), (5.55,1.235,5.72,1.405), (5.89,1.235,6.06,1.405)])
A(c_sky130_fd_pr__pfet_01v8_, li1, -6.305, -1.405, 1, 0.17, 10, 2, 1.29, 2.64)
A(c_sky130_fd_pr__pfet_01v8_, li1, -6.535, -1.02, 0.17, 2.04, 11, 1, 1.29, 0)
R(c_sky130_fd_pr__pfet_01v8_, li1, [(-7.105,-1.915,7.105,-1.745), (-7.105,-1.745,-6.935,1.745), (6.935,-1.745,7.105,1.745), (-7.105,1.745,7.105,1.915)])
A(c_sky130_fd_pr__pfet_01v8_, mcon, -6.535, -0.805, 0.17, 0.17, 11, 5, 1.29, 0.36)
R(c_sky130_fd_pr__pfet_01v8_, mcon, [(-6.07,-1.405,-5.9,-1.235), (-5.71,-1.405,-5.54,-1.235), (-4.78,-1.405,-4.61,-1.235), (-4.42,-1.405,-4.25,-1.235), (-3.49,-1.405,-3.32,-1.235), (-3.13,-1.405,-2.96,-1.235), (-2.2,-1.405,-2.03,-1.235), (-1.84,-1.405,-1.67,-1.235), (-0.91,-1.405,-0.74,-1.235), (-0.55,-1.405,-0.38,-1.235), (0.38,-1.405,0.55,-1.235), (0.74,-1.405,0.91,-1.235), (1.67,-1.405,1.84,-1.235), (2.03,-1.405,2.2,-1.235), (2.96,-1.405,3.13,-1.235), (3.32,-1.405,3.49,-1.235), (4.25,-1.405,4.42,-1.235), (4.61,-1.405,4.78,-1.235), (5.54,-1.405,5.71,-1.235), (5.9,-1.405,6.07,-1.235), (-6.07,1.235,-5.9,1.405), (-5.71,1.235,-5.54,1.405), (-4.78,1.235,-4.61,1.405), (-4.42,1.235,-4.25,1.405), (-3.49,1.235,-3.32,1.405), (-3.13,1.235,-2.96,1.405), (-2.2,1.235,-2.03,1.405), (-1.84,1.235,-1.67,1.405), (-0.91,1.235,-0.74,1.405), (-0.55,1.235,-0.38,1.405), (0.38,1.235,0.55,1.405), (0.74,1.235,0.91,1.405), (1.67,1.235,1.84,1.405), (2.03,1.235,2.2,1.405), (2.96,1.235,3.13,1.405), (3.32,1.235,3.49,1.405), (4.25,1.235,4.42,1.405), (4.61,1.235,4.78,1.405), (5.54,1.235,5.71,1.405), (5.9,1.235,6.07,1.405)])
A(c_sky130_fd_pr__pfet_01v8_, met1, -6.285, -1.435, 0.96, 0.23, 10, 2, 1.29, 2.64)
A(c_sky130_fd_pr__pfet_01v8_, met1, -6.565, -1, 0.23, 2, 11, 1, 1.29, 0)
R(c_sky130_fd_pr__pfet_01v8_, nsdm, [(-7.23,-2.04,7.23,-1.62), (-7.23,-1.62,-6.81,1.62), (6.81,-1.62,7.23,1.62), (-7.23,1.62,7.23,2.04)])
R(c_sky130_fd_pr__pfet_01v8_, psdm, [(-6.72,-1.125,6.72,1.125)])
A(c_sky130_fd_pr__pfet_01v8_, npc, -6.16, -1.505, 0.71, 0.37, 10, 2, 1.29, 2.64)
R(c_sky130_fd_pr__pfet_01v8_, lvtn, [(-6.485,-1.18,6.485,1.18)])
R(c_sky130_fd_pr__pfet_01v8_, boundary, [(-7.02,-1.83,7.02,1.83)])
c_sky130_fd_pr__pfet_01v8_.add(gdstk.Label('B', (0,-1.83), layer=67, texttype=5))
c_sky130_fd_pr__pfet_01v8_.add(gdstk.Label('D0', (-6.45,0), layer=67, texttype=5))
c_sky130_fd_pr__pfet_01v8_.add(gdstk.Label('G0', (-5.805,1.32), layer=67, texttype=5))
c_sky130_fd_pr__pfet_01v8_.add(gdstk.Label('S1', (-5.16,0), layer=67, texttype=5))
c_sky130_fd_pr__pfet_01v8_.add(gdstk.Label('G1', (-4.515,1.32), layer=67, texttype=5))
c_sky130_fd_pr__pfet_01v8_.add(gdstk.Label('D2', (-3.87,0), layer=67, texttype=5))
c_sky130_fd_pr__pfet_01v8_.add(gdstk.Label('G2', (-3.225,1.32), layer=67, texttype=5))
c_sky130_fd_pr__pfet_01v8_.add(gdstk.Label('S3', (-2.58,0), layer=67, texttype=5))
c_sky130_fd_pr__pfet_01v8_.add(gdstk.Label('G3', (-1.935,1.32), layer=67, texttype=5))
c_sky130_fd_pr__pfet_01v8_.add(gdstk.Label('D4', (-1.29,0), layer=67, texttype=5))
c_sky130_fd_pr__pfet_01v8_.add(gdstk.Label('G4', (-0.645,1.32), layer=67, texttype=5))
c_sky130_fd_pr__pfet_01v8_.add(gdstk.Label('S5', (0,0), layer=67, texttype=5))
c_sky130_fd_pr__pfet_01v8_.add(gdstk.Label('G5', (0.645,1.32), layer=67, texttype=5))
c_sky130_fd_pr__pfet_01v8_.add(gdstk.Label('D6', (1.29,0), layer=67, texttype=5))
c_sky130_fd_pr__pfet_01v8_.add(gdstk.Label('G6', (1.935,1.32), layer=67, texttype=5))
c_sky130_fd_pr__pfet_01v8_.add(gdstk.Label('S7', (2.58,0), layer=67, texttype=5))
c_sky130_fd_pr__pfet_01v8_.add(gdstk.Label('G7', (3.225,1.32), layer=67, texttype=5))
c_sky130_fd_pr__pfet_01v8_.add(gdstk.Label('D8', (3.87,0), layer=67, texttype=5))
c_sky130_fd_pr__pfet_01v8_.add(gdstk.Label('G8', (4.515,1.32), layer=67, texttype=5))
c_sky130_fd_pr__pfet_01v8_.add(gdstk.Label('S9', (5.16,0), layer=67, texttype=5))
c_sky130_fd_pr__pfet_01v8_.add(gdstk.Label('G9', (5.805,1.32), layer=67, texttype=5))

bias = lib.new_cell('bias')
R(bias, li1, [(-0.085,1.7,0.6,1.9), (13.44,1.7,14.125,1.9)])
R(bias, met1_pin, [(5.5,-0.66,5.6,-0.56), (6.3,3.1,6.4,3.2), (3.6,4.25,3.7,4.35)])
A(bias, met1, 4.31, 0.89, 0.26, 0.32, 3, 1, 2.58, 0)
A(bias, met1, 3.02, 2.45, 0.26, 0.32, 4, 1, 2.58, 0)
R(bias, met1, [(4.31,-0.77,9.73,-0.45), (0.44,2.45,0.7,2.75), (1.73,2.45,1.99,2.77), (12.05,2.45,12.31,2.77), (13.34,2.45,13.6,2.75), (0.44,2.75,0.8,2.77), (13.24,2.75,13.6,2.77), (0.455,2.77,0.8,3.265), (13.24,2.77,13.585,3.265), (2.27,2.99,2.53,3.035), (11.51,2.99,11.77,3.035), (2.025,3.035,12.015,3.265), (2.27,3.265,2.53,3.31), (11.51,3.265,11.77,3.31), (0.44,4.14,13.6,4.46)])
A(bias, via, 4.365, 0.975, 0.15, 0.15, 3, 1, 2.58, 0)
A(bias, via, 0.495, 2.535, 0.15, 0.15, 3, 1, 1.29, 0)
A(bias, via, 5.655, 2.535, 0.15, 0.15, 3, 1, 2.58, 0)
A(bias, via, 0.495, 4.225, 0.15, 0.15, 6, 1, 2.58, 0)
R(bias, via, [(4.365,-0.685,4.515,-0.535), (9.525,-0.685,9.675,-0.535), (12.105,2.535,12.255,2.685), (13.395,2.535,13.545,2.685), (2.325,3.075,2.475,3.225), (11.565,3.075,11.715,3.225)])
R(bias, met2_pin, [(6.98,-1.25,7.06,-1.15)])
A(bias, met2, 4.31, 0.89, 0.26, 0.32, 3, 1, 2.58, 0)
A(bias, met2, 0.44, 2.45, 0.26, 0.32, 3, 1, 1.29, 0)
A(bias, met2, 5.6, 2.45, 0.26, 0.32, 3, 1, 2.58, 0)
A(bias, met2, 0.5, 2.77, 0.14, 1.37, 6, 1, 2.58, 0)
A(bias, met2, 0.44, 4.14, 0.26, 0.32, 6, 1, 2.58, 0)
R(bias, met2, [(6.95,-1.3,7.09,0.89), (4.31,-0.77,4.57,-0.45), (9.47,-0.77,9.73,-0.45), (4.37,-0.45,4.51,0.89), (9.53,-0.45,9.67,0.89), (12.05,2.45,12.31,2.77), (13.34,2.45,13.6,2.77), (1.79,2.77,1.93,3.53), (12.11,2.77,12.25,3.53), (2.27,2.99,2.53,3.31), (11.51,2.99,11.77,3.31), (2.33,3.31,2.47,3.53), (11.57,3.31,11.71,3.53), (1.79,3.53,2.47,3.67), (11.57,3.53,12.25,3.67)])
bias.add(gdstk.Reference(c_sky130_fd_pr__pfet_01v8_, (7.02,1.83)))
bias.add(gdstk.Label('vbias', (6.35,3.15), layer=68, texttype=5))
bias.add(gdstk.Label('vdd', (3.65,4.3), layer=68, texttype=5))
bias.add(gdstk.Label('tail', (5.55,-0.61), layer=68, texttype=5))
bias.add(gdstk.Label('out', (7.02,-1.2), layer=69, texttype=5))

comparator = lib.new_cell('comparator')
R(comparator, met1_pin, [(10.1,-3.06,10.2,-2.96), (12.1,-2.46,12.2,-2.36), (20,12.12,20.1,12.22)])
R(comparator, met1, [(15.97,-5.5,16.23,-5.18), (10,-3.17,10.3,-2.85), (12,-2.57,12.3,-2.25), (13.57,-1.97,19.57,-1.65), (15.97,-1.37,16.23,-1.05), (6.44,5.63,6.7,5.95), (18.15,7.89,28.73,8.21), (12.89,12.01,26.59,12.33), (11.02,12.7,11.28,13.02), (28.47,13.42,28.73,13.74), (30.62,14.195,30.88,14.515), (-4.1,16.69,-3.84,17.01), (3.37,18.31,3.63,18.63)])
R(comparator, via, [(16.025,-5.415,16.175,-5.265), (19.365,-1.885,19.515,-1.735), (16.025,-1.285,16.175,-1.135), (6.495,5.715,6.645,5.865), (28.525,7.975,28.675,8.125), (12.945,12.095,13.095,12.245), (26.385,12.095,26.535,12.245), (11.075,12.785,11.225,12.935), (28.525,13.505,28.675,13.655), (30.675,14.28,30.825,14.43), (-4.045,16.775,-3.895,16.925), (3.425,18.395,3.575,18.545)])
R(comparator, met2_pin, [(5.76,-8.19,5.84,-8.11), (6.53,11,6.61,11.1)])
R(comparator, met2, [(4.93,-8.22,6.67,-8.08), (32.23,-8.22,34.07,-8.08), (4.93,-8.08,5.07,16.78), (33.93,-8.08,34.07,14.285), (15.97,-5.5,16.23,-5.18), (16.03,-5.18,16.17,-1.37), (19.37,-4.47,19.51,-1.97), (19.31,-1.97,19.57,-1.65), (15.97,-1.37,16.23,-1.05), (6.44,5.63,6.7,5.95), (6.5,5.95,6.64,16.15), (11.08,7.38,11.22,12.7), (28.47,7.89,28.73,8.21), (28.53,8.21,28.67,13.42), (12.89,12.01,13.15,12.33), (26.33,12.01,26.59,12.33), (11.02,12.7,11.28,13.02), (28.47,13.42,28.73,13.74), (30.62,14.195,30.88,14.285), (30.62,14.285,34.07,14.425), (30.62,14.425,30.88,14.515), (-4.1,16.69,-3.84,16.78), (-4.1,16.78,5.07,16.92), (-4.1,16.92,-3.84,17.01), (7.79,17,7.93,18.4), (3.37,18.31,3.63,18.4), (3.37,18.4,7.93,18.54), (3.37,18.54,3.63,18.63)])
comparator.add(gdstk.Reference(stage2, (21.6,13.07)))
comparator.add(gdstk.Reference(rbias, (4.24,17.83), rotation=pi))
comparator.add(gdstk.Reference(pair, (6,0)))
comparator.add(gdstk.Reference(mirror, (6,-7.4)))
comparator.add(gdstk.Reference(bias, (6,13.47)))
comparator.add(gdstk.Label('inp', (10.15,-3.01), layer=68, texttype=5))
comparator.add(gdstk.Label('inn', (12.15,-2.41), layer=68, texttype=5))
comparator.add(gdstk.Label('out', (20.05,12.17), layer=68, texttype=5))
comparator.add(gdstk.Label('vdd', (6.57,11.05), layer=69, texttype=5))
comparator.add(gdstk.Label('vss', (5.8,-8.15), layer=69, texttype=5))

lib.write_gds('comparator.gds')
